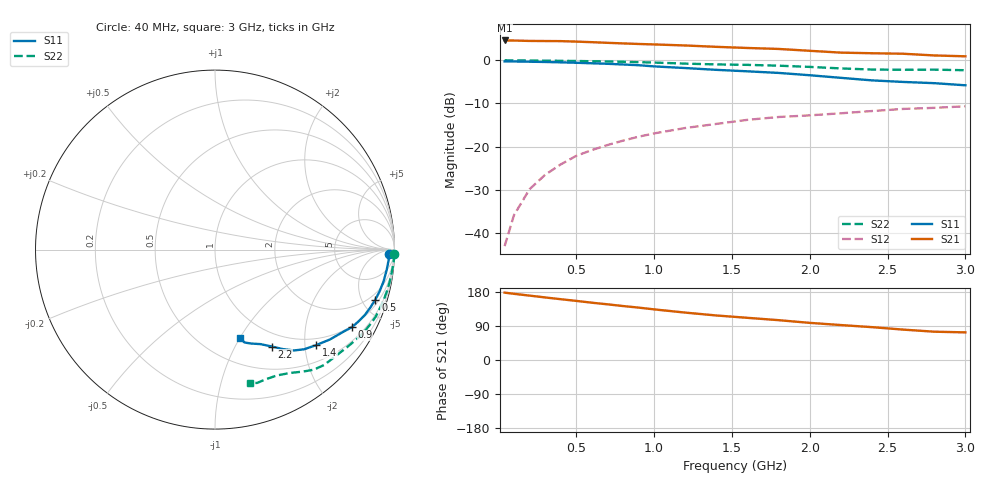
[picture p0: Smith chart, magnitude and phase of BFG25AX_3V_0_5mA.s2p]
! Filename:  BFG25AXH.S2P  Version:  2.0
! Philips part #: BFG25A/X  Date: May 1990
! Bias condition: Vce=3V, Ic=0.5mA
#  MHz  S  MA  R  50
! Freq  S11  S21  S12  S22  !GUM [dB]
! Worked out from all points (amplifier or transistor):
!   21 points, 40 MHz to 3 GHz, reference 50 ohm
!   highest |S21| = 4.6 dB at 40 MHz (marker M1)
!   |S21| within 3 dB of that: start of sweep to 2.461 GHz
!   unconditionally stable (mu >= 1): nowhere
!   at 300 MHz: K = 0.09, MSG = 15.5 dB, |S12| = -26.6 dB
!   at 1 GHz: K = 0.26, MSG = 10.3 dB, |S12| = -17.0 dB
!   at 3 GHz: K = 0.68, MSG = 5.8 dB, |S12| = -10.7 dB
!   lowest NFmin = 1.50 dB at 500 MHz
!   S11 on the Smith chart (normalised r, x): 40 MHz: 42, -31; 500 MHz: 1.40, -6.27; 900 MHz: 0.95, -3.56; 1.4 GHz: 0.84, -2.24; 2.2 GHz: 0.80, -1.42; 3 GHz: 0.75, -1.01
40  0.97 -1.3  1.698 177.8  0.007 86.7  0.999 -1.3
100  0.969 -3.5  1.694 174.7  0.016 87.5  0.998 -3.4
200  0.963 -6.9  1.677 169.9  0.032 84.4  0.994 -6.7
300  0.956 -10.6  1.672 165.1  0.047 81.8  0.99 -10.1
400  0.947 -14.0  1.668 160.5  0.062 79.3  0.986 -13.3
500  0.936 -17.3  1.647 156.0  0.078 77.3  0.981 -16.6
600  0.923 -20.6  1.622 151.2  0.091 75.2  0.975 -19.7
700  0.911 -23.6  1.594 147.0  0.104 73.3  0.97 -22.7
800  0.894 -26.6  1.57 142.4  0.117 71.6  0.961 -25.5
900  0.877 -29.5  1.546 138.3  0.13 69.5  0.951 -28.2
1000  0.85 -32.5  1.527 133.6  0.142 67.4  0.941 -31.0
1200  0.813 -38.0  1.485 125.1  0.164 62.8  0.915 -36.4
1400  0.775 -43.4  1.432 117.5  0.183 59.6  0.896 -41.6
1600  0.745 -48.2  1.389 111.3  0.204 57.1  0.885 -46.6
1800  0.714 -51.9  1.354 105.1  0.22 53.8  0.866 -50.6
2000  0.671 -55.7  1.288 98.0  0.23 50.9  0.838 -54.2
2200  0.626 -59.6  1.227 92.2  0.243 48.3  0.805 -58.6
2400  0.585 -64.2  1.207 86.7  0.258 44.8  0.781 -63.9
2600  0.561 -68.9  1.191 80.2  0.273 41.4  0.776 -68.9
2800  0.543 -72.4  1.138 74.7  0.281 40.0  0.779 -72.5
3000  0.513 -74.0  1.112 72.9  0.293 39.9  0.767 -75.3
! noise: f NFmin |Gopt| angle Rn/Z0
500  1.5  0.88  4  3
1000  1.6  0.8  13  3.2
2000  1.8  0.79  37  2.2
